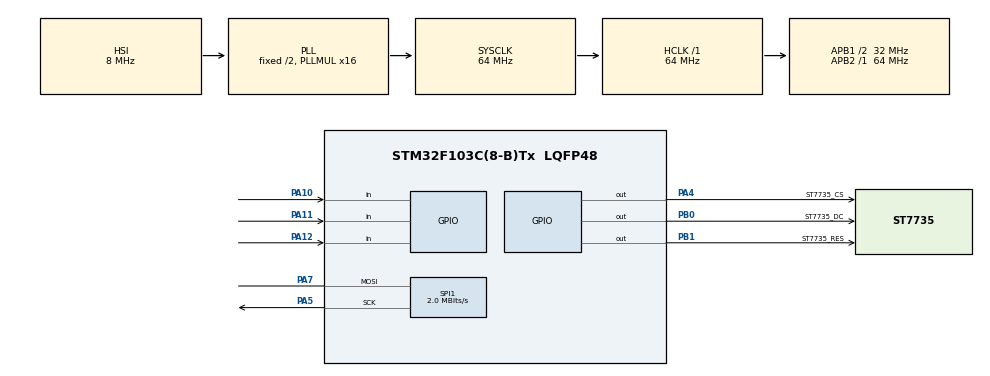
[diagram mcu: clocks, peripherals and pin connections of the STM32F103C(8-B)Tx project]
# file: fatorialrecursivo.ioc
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Mcu.Family=STM32F1
Mcu.Name=STM32F103C(8-B)Tx
Mcu.Package=LQFP48
NVIC.PriorityGroup=NVIC_PRIORITYGROUP_4
PA10.Signal=GPIO_Input
PA11.Signal=GPIO_Input
PA12.Signal=GPIO_Input
PA13.Mode=Serial_Wire
PA13.Signal=SYS_JTMS-SWDIO
PA14.Mode=Serial_Wire
PA14.Signal=SYS_JTCK-SWCLK
PA4.GPIO_Label=ST7735_CS
PA4.Signal=GPIO_Output
PA5.Mode=Simplex_Bidirectional_Master
PA5.Signal=SPI1_SCK
PA7.Mode=Simplex_Bidirectional_Master
PA7.Signal=SPI1_MOSI
PB0.GPIO_Label=ST7735_DC
PB0.Signal=GPIO_Output
PB1.GPIO_Label=ST7735_RES
PB1.Signal=GPIO_Output
ProjectManager.HeapSize=0x200
ProjectManager.StackSize=0x400
ProjectManager.TargetToolchain=STM32CubeIDE
RCC.AHBFreq_Value=64000000
RCC.APB1CLKDivider=RCC_HCLK_DIV2
RCC.APB1Freq_Value=32000000
RCC.APB1TimFreq_Value=64000000
RCC.APB2Freq_Value=64000000
RCC.APB2TimFreq_Value=64000000
RCC.HCLKFreq_Value=64000000
RCC.PLLMUL=RCC_PLL_MUL16
RCC.SYSCLKFreq_VALUE=64000000
RCC.SYSCLKSource=RCC_SYSCLKSOURCE_PLLCLK
RCC.USBFreq_Value=64000000
SPI1.BaudRatePrescaler=SPI_BAUDRATEPRESCALER_32
SPI1.CalculateBaudRate=2.0 MBits/s
SPI1.Direction=SPI_DIRECTION_1LINE
SPI1.Mode=SPI_MODE_MASTER
SPI1.VirtualType=VM_MASTER
board=custom

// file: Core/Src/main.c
/* USER CODE BEGIN Header */
/**
  ******************************************************************************
  * @file           : main.c
  * @brief          : Main program body
  ******************************************************************************
  * @attention
  *
  * <h2><center>&copy; Copyright (c) 2025 STMicroelectronics.
  * All rights reserved.</center></h2>
  *
  * This software component is licensed by ST under BSD 3-Clause license,
  * the "License"; You may not use this file except in compliance with the
  * License. You may obtain a copy of the License at:
  *                        opensource.org/licenses/BSD-3-Clause
  *
  ******************************************************************************
  */
/* USER CODE END Header */
#include "main.h"

/* USER CODE BEGIN Includes */
#include "st7735\st7735.h"

/* USER CODE END Includes */

SPI_HandleTypeDef hspi1;

/* USER CODE BEGIN PV */
int n = 0;
char escolher [15];
char conta [15];
/* USER CODE END PV */

void SystemClock_Config(void);
static void MX_GPIO_Init(void);
static void MX_SPI1_Init(void);
/* USER CODE BEGIN PFP */
void menu ();
int fatorial (int n);
/* USER CODE END PFP */

int main(void)
{

  /* MCU Configuration--------------------------------------------------------*/

  /* Reset of all peripherals, Initializes the Flash interface and the Systick. */
  HAL_Init();

  /* Configure the system clock */
  SystemClock_Config();

  /* Initialize all configured peripherals */
  MX_GPIO_Init();
  MX_SPI1_Init();
  /* USER CODE BEGIN 2 */
  ST7735_Init();
  /* USER CODE END 2 */

  /* Infinite loop */
  while (1)
  {
	  menu();
  }
}

void SystemClock_Config(void)
{
  RCC_OscInitTypeDef RCC_OscInitStruct = {0};
  RCC_ClkInitTypeDef RCC_ClkInitStruct = {0};

  /** Initializes the RCC Oscillators according to the specified parameters
  * in the RCC_OscInitTypeDef structure.
  */
  RCC_OscInitStruct.OscillatorType = RCC_OSCILLATORTYPE_HSI;
  RCC_OscInitStruct.HSIState = RCC_HSI_ON;
  RCC_OscInitStruct.HSICalibrationValue = RCC_HSICALIBRATION_DEFAULT;
  RCC_OscInitStruct.PLL.PLLState = RCC_PLL_ON;
  RCC_OscInitStruct.PLL.PLLSource = RCC_PLLSOURCE_HSI_DIV2;
  RCC_OscInitStruct.PLL.PLLMUL = RCC_PLL_MUL16;
  if (HAL_RCC_OscConfig(&RCC_OscInitStruct) != HAL_OK)
  {
    Error_Handler();
  }
  /** Initializes the CPU, AHB and APB buses clocks
  */
  RCC_ClkInitStruct.ClockType = RCC_CLOCKTYPE_HCLK|RCC_CLOCKTYPE_SYSCLK
                              |RCC_CLOCKTYPE_PCLK1|RCC_CLOCKTYPE_PCLK2;
  RCC_ClkInitStruct.SYSCLKSource = RCC_SYSCLKSOURCE_PLLCLK;
  RCC_ClkInitStruct.AHBCLKDivider = RCC_SYSCLK_DIV1;
  RCC_ClkInitStruct.APB1CLKDivider = RCC_HCLK_DIV2;
  RCC_ClkInitStruct.APB2CLKDivider = RCC_HCLK_DIV1;

  if (HAL_RCC_ClockConfig(&RCC_ClkInitStruct, FLASH_LATENCY_2) != HAL_OK)
  {
    Error_Handler();
  }
}

static void MX_SPI1_Init(void)
{

  /* SPI1 parameter configuration*/
  hspi1.Instance = SPI1;
  hspi1.Init.Mode = SPI_MODE_MASTER;
  hspi1.Init.Direction = SPI_DIRECTION_1LINE;
  hspi1.Init.DataSize = SPI_DATASIZE_8BIT;
  hspi1.Init.CLKPolarity = SPI_POLARITY_LOW;
  hspi1.Init.CLKPhase = SPI_PHASE_1EDGE;
  hspi1.Init.NSS = SPI_NSS_SOFT;
  hspi1.Init.BaudRatePrescaler = SPI_BAUDRATEPRESCALER_32;
  hspi1.Init.FirstBit = SPI_FIRSTBIT_MSB;
  hspi1.Init.TIMode = SPI_TIMODE_DISABLE;
  hspi1.Init.CRCCalculation = SPI_CRCCALCULATION_DISABLE;
  hspi1.Init.CRCPolynomial = 10;
  if (HAL_SPI_Init(&hspi1) != HAL_OK)
  {
    Error_Handler();
  }

}

static void MX_GPIO_Init(void)
{
  GPIO_InitTypeDef GPIO_InitStruct = {0};

  /* GPIO Ports Clock Enable */
  __HAL_RCC_GPIOA_CLK_ENABLE();
  __HAL_RCC_GPIOB_CLK_ENABLE();

  /*Configure GPIO pin Output Level */
  HAL_GPIO_WritePin(ST7735_CS_GPIO_Port, ST7735_CS_Pin, GPIO_PIN_RESET);

  /*Configure GPIO pin Output Level */
  HAL_GPIO_WritePin(GPIOB, ST7735_DC_Pin|ST7735_RES_Pin, GPIO_PIN_RESET);

  /*Configure GPIO pin : ST7735_CS_Pin */
  GPIO_InitStruct.Pin = ST7735_CS_Pin;
  GPIO_InitStruct.Mode = GPIO_MODE_OUTPUT_PP;
  GPIO_InitStruct.Pull = GPIO_NOPULL;
  GPIO_InitStruct.Speed = GPIO_SPEED_FREQ_LOW;
  HAL_GPIO_Init(ST7735_CS_GPIO_Port, &GPIO_InitStruct);

  /*Configure GPIO pins : ST7735_DC_Pin ST7735_RES_Pin */
  GPIO_InitStruct.Pin = ST7735_DC_Pin|ST7735_RES_Pin;
  GPIO_InitStruct.Mode = GPIO_MODE_OUTPUT_PP;
  GPIO_InitStruct.Pull = GPIO_NOPULL;
  GPIO_InitStruct.Speed = GPIO_SPEED_FREQ_LOW;
  HAL_GPIO_Init(GPIOB, &GPIO_InitStruct);

  /*Configure GPIO pins : PA10 PA11 PA12 */
  GPIO_InitStruct.Pin = GPIO_PIN_10|GPIO_PIN_11|GPIO_PIN_12;
  GPIO_InitStruct.Mode = GPIO_MODE_INPUT;
  GPIO_InitStruct.Pull = GPIO_NOPULL;
  HAL_GPIO_Init(GPIOA, &GPIO_InitStruct);

}

/* USER CODE BEGIN 4 */
int fatorial(int n) {
  if (n == 0) {
    return 1;
  } else {
    return n * fatorial(n - 1);
  }
}

void menu() {
  int aumentar = 0;
  int confirmar = 0;

  if (n >= 0 && n <= 10) {
    aumentar = HAL_GPIO_ReadPin(GPIOA, GPIO_PIN_12);
    confirmar = HAL_GPIO_ReadPin(GPIOA, GPIO_PIN_11);

    if (aumentar == 1) {
      n++;
      sprintf(escolher, "numero: %d",n);
      ST7735_WriteString(10, 20, escolher, Font_11x18, BLACK, WHITE );
      HAL_Delay(300);
    }

    if (confirmar == 1) {
      int resultado = fatorial(n);
      sprintf(conta, "Fatorial: %d", resultado);
      ST7735_WriteString(10, 60, conta, Font_11x18, WHITE, BLUE);
      HAL_Delay(1000);
    }
  }
  else{
    ST7735_WriteString(10, 90, "Numero invalido", Font_11x18, WHITE, RED);
  }
}
/* USER CODE END 4 */

void Error_Handler(void)
{
  __disable_irq();
  while (1)
  {
  }
}

/************************ (C) COPYRIGHT STMicroelectronics *****END OF FILE****/
